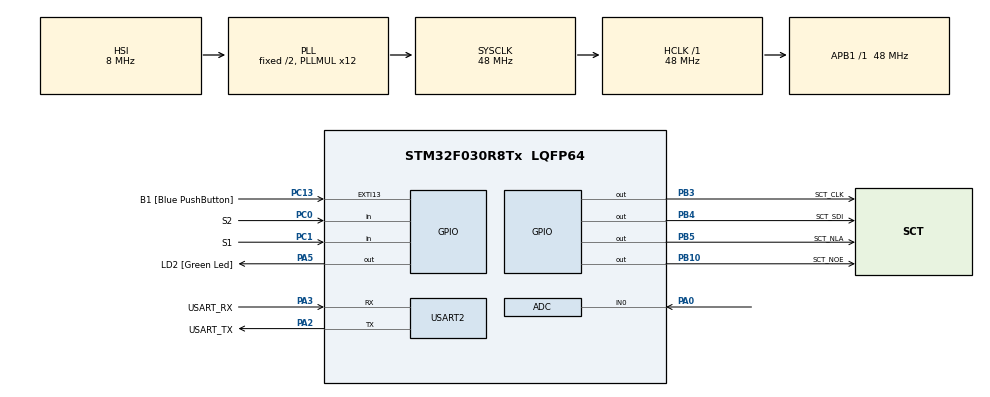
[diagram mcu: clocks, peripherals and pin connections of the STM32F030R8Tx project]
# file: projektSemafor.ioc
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ADC.ContinuousConvMode=ENABLE
ADC.SamplingTime=ADC_SAMPLETIME_239CYCLES_5
Mcu.Family=STM32F0
Mcu.Name=STM32F030R8Tx
Mcu.Package=LQFP64
NVIC.ADC1_IRQn=true\:0\:0\:false\:false\:true\:true\:true\:true
PA0.Mode=IN0
PA0.Signal=ADC_IN0
PA13.GPIO_Label=TMS
PA13.Mode=Serial_Wire
PA13.Signal=SYS_SWDIO
PA14.GPIO_Label=TCK
PA14.Mode=Serial_Wire
PA14.Signal=SYS_SWCLK
PA2.GPIO_Label=USART_TX
PA2.GPIO_Mode=GPIO_MODE_AF_PP
PA2.GPIO_PuPd=GPIO_NOPULL
PA2.GPIO_Speed=GPIO_SPEED_FREQ_LOW
PA2.Mode=Asynchronous
PA2.Signal=USART2_TX
PA3.GPIO_Label=USART_RX
PA3.GPIO_Mode=GPIO_MODE_AF_PP
PA3.GPIO_PuPd=GPIO_NOPULL
PA3.GPIO_Speed=GPIO_SPEED_FREQ_LOW
PA3.Mode=Asynchronous
PA3.Signal=USART2_RX
PA5.GPIO_Label=LD2 [Green Led]
PA5.GPIO_Mode=GPIO_MODE_OUTPUT_PP
PA5.GPIO_PuPd=GPIO_NOPULL
PA5.GPIO_Speed=GPIO_SPEED_FREQ_LOW
PA5.Signal=GPIO_Output
PB10.GPIO_Label=SCT_NOE
PB10.Signal=GPIO_Output
PB3.GPIO_Label=SCT_CLK
PB3.Signal=GPIO_Output
PB4.GPIO_Label=SCT_SDI
PB4.Signal=GPIO_Output
PB5.GPIO_Label=SCT_NLA
PB5.Signal=GPIO_Output
PC0.GPIO_Label=S2
PC0.GPIO_PuPd=GPIO_PULLUP
PC0.Signal=GPIO_Input
PC1.GPIO_Label=S1
PC1.GPIO_PuPd=GPIO_PULLUP
PC1.Signal=GPIO_Input
PC13.GPIO_Label=B1 [Blue PushButton]
PC13.GPIO_ModeDefaultEXTI=GPIO_MODE_IT_FALLING
PC13.Signal=GPXTI13
PC14-OSC32_IN.Mode=LSE-External-Oscillator
PC14-OSC32_IN.Signal=RCC_OSC32_IN
PC15-OSC32_OUT.Mode=LSE-External-Oscillator
PC15-OSC32_OUT.Signal=RCC_OSC32_OUT
PF0-OSC_IN.Mode=HSE-External-Clock-Source
PF0-OSC_IN.Signal=RCC_OSC_IN
PF1-OSC_OUT.Signal=RCC_OSC_OUT
ProjectManager.HeapSize=0x200
ProjectManager.StackSize=0x400
ProjectManager.TargetToolchain=STM32CubeIDE
RCC.AHBFreq_Value=48000000
RCC.APB1Freq_Value=48000000
RCC.APB1TimFreq_Value=48000000
RCC.HCLKFreq_Value=48000000
RCC.PLLMUL=RCC_PLL_MUL12
RCC.SYSCLKFreq_VALUE=48000000
RCC.SYSCLKSource=RCC_SYSCLKSOURCE_PLLCLK
USART2.VirtualMode-Asynchronous=VM_ASYNC
board=NUCLEO-F030R8

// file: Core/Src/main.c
/* USER CODE BEGIN Header */
/**
  ******************************************************************************
  * @file           : main.c
  * @brief          : Main program body
  ******************************************************************************
  * @attention
  *
  * Copyright (c) 2025 STMicroelectronics.
  * All rights reserved.
  *
  * This software is licensed under terms that can be found in the LICENSE file
  * in the root directory of this software component.
  * If no LICENSE file comes with this software, it is provided AS-IS.
  *
  ******************************************************************************
  */
/* USER CODE END Header */
#include "main.h"

/* USER CODE BEGIN Includes */
#include "sct.h"
/* USER CODE END Includes */

/* USER CODE BEGIN PD */
#define YELLOW_TIME 1000;
#define RED_GREEN_TIME raw_pot*15000.9/4095+5000;
/* USER CODE END PD */

ADC_HandleTypeDef hadc;

UART_HandleTypeDef huart2;

/* USER CODE BEGIN PV */
static uint32_t raw_pot;
/* USER CODE END PV */

void SystemClock_Config(void);
static void MX_GPIO_Init(void);
static void MX_USART2_UART_Init(void);
static void MX_ADC_Init(void);

/* USER CODE BEGIN 0 */
void HAL_ADC_ConvCpltCallback(ADC_HandleTypeDef* hadc)
{
	static uint32_t avg_pot;
	raw_pot = avg_pot >> 12; //ADC_Q = 12 - can vary
	avg_pot -= raw_pot;
	avg_pot += HAL_ADC_GetValue(hadc);
}
//Funkce setLight(red); - ktera pusti cervenou - to ale neni potreba protoze se svetla nemeni tak, ze by bylo potreba je adresovat jednou metodou. To by bylo vhodny az kdybych potreboval switch posunout z hlavni smycky, coz ted nepotrebuju.
/* USER CODE END 0 */

int main(void)
{

  /* MCU Configuration--------------------------------------------------------*/

  /* Reset of all peripherals, Initializes the Flash interface and the Systick. */
  HAL_Init();

  /* Configure the system clock */
  SystemClock_Config();

  /* Initialize all configured peripherals */
  MX_GPIO_Init();
  MX_USART2_UART_Init();
  MX_ADC_Init();
  /* USER CODE BEGIN 2 */
  HAL_ADCEx_Calibration_Start(&hadc);
  HAL_ADC_Start_IT(&hadc);//Start ADC
  sct_init();
  sct_ledOn(7);
  HAL_Delay(1000);
  //HAL_Delay(1000);
  /* USER CODE END 2 */

  /* Infinite loop */
  /* USER CODE BEGIN WHILE */
  while (1)
  {
	  static uint8_t pedestrian=0;
	  //0-cervena; 1-cervena+zluta; 2-zelena; 3-zluta
	  static uint32_t lastTick=0;
	  static uint16_t delay=0;
	  static uint8_t countdown=1;
	  static enum { RED, REDYELLOW, GREEN, YELLOW } state = RED;
	  if(HAL_GetTick()-lastTick>=delay)
	  {
		  //state++; - neni vhodne reseni; slo by posunout vse - cervenou dat v prvnim kole na pevno a v ramci case RED, nastavit case=YELLOW a dat hodnoty pro zlutou a delay
		  //Slo by to udelat jeste jinak ale to by musela byt pamet a kod by se musel vracet do stejneho mista ve kterem byl (jako by byl misto delay HAL_Delay(...));
		  //Aby sel zmenit cas v prubehu delaye
		  //Static proměnná není globální -> problém s globalitou (a předáváním) bych teda řešil až u používání dalších souborů. Pokud mi proměnný stačí jako static, je to v poho.
		  //Zalezi jak se to vezme, je to globalni staticka promenna
		  switch(state)//mozne taky cely switch nakopirovat jeste jednou se zohlednenim chodcu!!
		  {
			case RED:
				countdown=1;
				if(pedestrian==1)
				{
					sct_ledOff(7);
					sct_ledOn(8);
				}
				sct_ledOff(2);
				sct_ledOn(1);
				delay = RED_GREEN_TIME;
				state = REDYELLOW;
				break;
			case REDYELLOW:
				countdown=0;
				sct_turnOffSegm();
				if(pedestrian==1)
				{
					sct_ledOff(8);
					sct_ledOn(7);
					pedestrian=0;
				}
				sct_ledOff(1);
				sct_ledOn(2);
				delay = YELLOW_TIME;
				state = GREEN;
				break;
			case GREEN:
				countdown=1;
				sct_ledOff(1); //zelena
				sct_ledOff(2);
				sct_ledOn(3);
				delay = RED_GREEN_TIME;
				state = YELLOW;
				break;
			case YELLOW:
				countdown=0;
				sct_turnOffSegm();
				if(pedestrian==1)
				{
					sct_ledOff(1);
					sct_ledOff(5);
				}
				sct_ledOff(3); //zluta
				sct_ledOn(2);
				delay = YELLOW_TIME;
				state = RED;
				break;
		  }
		  lastTick=HAL_GetTick();
	  }
	  static uint8_t old_s2;
	  uint8_t new_s2 = HAL_GPIO_ReadPin(S1_GPIO_Port, S1_Pin); //Debouncing
	  if(old_s2==1 && new_s2==0&&state==GREEN+1) //+1 znaci ze se program uz nachazi ve stavu Yellow, presto ze sviti zelena
	  {
		  pedestrian=1;
		  delay=0;
		  sct_ledOn(5);
		  state=YELLOW;
	  }
	  old_s2 = new_s2;
	  if(countdown==1)
	  {
	  sct_valueWithLEDsSpecial(((delay-(HAL_GetTick()-lastTick))/1000)+1);
	  }
    /* USER CODE END WHILE */

  }
}

void SystemClock_Config(void)
{
  RCC_OscInitTypeDef RCC_OscInitStruct = {0};
  RCC_ClkInitTypeDef RCC_ClkInitStruct = {0};

  /** Initializes the RCC Oscillators according to the specified parameters
  * in the RCC_OscInitTypeDef structure.
  */
  RCC_OscInitStruct.OscillatorType = RCC_OSCILLATORTYPE_HSI|RCC_OSCILLATORTYPE_HSI14;
  RCC_OscInitStruct.HSIState = RCC_HSI_ON;
  RCC_OscInitStruct.HSI14State = RCC_HSI14_ON;
  RCC_OscInitStruct.HSICalibrationValue = RCC_HSICALIBRATION_DEFAULT;
  RCC_OscInitStruct.HSI14CalibrationValue = 16;
  RCC_OscInitStruct.PLL.PLLState = RCC_PLL_ON;
  RCC_OscInitStruct.PLL.PLLSource = RCC_PLLSOURCE_HSI;
  RCC_OscInitStruct.PLL.PLLMUL = RCC_PLL_MUL12;
  RCC_OscInitStruct.PLL.PREDIV = RCC_PREDIV_DIV1;
  if (HAL_RCC_OscConfig(&RCC_OscInitStruct) != HAL_OK)
  {
    Error_Handler();
  }

  /** Initializes the CPU, AHB and APB buses clocks
  */
  RCC_ClkInitStruct.ClockType = RCC_CLOCKTYPE_HCLK|RCC_CLOCKTYPE_SYSCLK
                              |RCC_CLOCKTYPE_PCLK1;
  RCC_ClkInitStruct.SYSCLKSource = RCC_SYSCLKSOURCE_PLLCLK;
  RCC_ClkInitStruct.AHBCLKDivider = RCC_SYSCLK_DIV1;
  RCC_ClkInitStruct.APB1CLKDivider = RCC_HCLK_DIV1;

  if (HAL_RCC_ClockConfig(&RCC_ClkInitStruct, FLASH_LATENCY_1) != HAL_OK)
  {
    Error_Handler();
  }
}

static void MX_ADC_Init(void)
{

  ADC_ChannelConfTypeDef sConfig = {0};

  /** Configure the global features of the ADC (Clock, Resolution, Data Alignment and number of conversion)
  */
  hadc.Instance = ADC1;
  hadc.Init.ClockPrescaler = ADC_CLOCK_ASYNC_DIV1;
  hadc.Init.Resolution = ADC_RESOLUTION_12B;
  hadc.Init.DataAlign = ADC_DATAALIGN_RIGHT;
  hadc.Init.ScanConvMode = ADC_SCAN_DIRECTION_FORWARD;
  hadc.Init.EOCSelection = ADC_EOC_SINGLE_CONV;
  hadc.Init.LowPowerAutoWait = DISABLE;
  hadc.Init.LowPowerAutoPowerOff = DISABLE;
  hadc.Init.ContinuousConvMode = ENABLE;
  hadc.Init.DiscontinuousConvMode = DISABLE;
  hadc.Init.ExternalTrigConv = ADC_SOFTWARE_START;
  hadc.Init.ExternalTrigConvEdge = ADC_EXTERNALTRIGCONVEDGE_NONE;
  hadc.Init.DMAContinuousRequests = DISABLE;
  hadc.Init.Overrun = ADC_OVR_DATA_PRESERVED;
  if (HAL_ADC_Init(&hadc) != HAL_OK)
  {
    Error_Handler();
  }

  /** Configure for the selected ADC regular channel to be converted.
  */
  sConfig.Channel = ADC_CHANNEL_0;
  sConfig.Rank = ADC_RANK_CHANNEL_NUMBER;
  sConfig.SamplingTime = ADC_SAMPLETIME_239CYCLES_5;
  if (HAL_ADC_ConfigChannel(&hadc, &sConfig) != HAL_OK)
  {
    Error_Handler();
  }

}

static void MX_USART2_UART_Init(void)
{

  huart2.Instance = USART2;
  huart2.Init.BaudRate = 38400;
  huart2.Init.WordLength = UART_WORDLENGTH_8B;
  huart2.Init.StopBits = UART_STOPBITS_1;
  huart2.Init.Parity = UART_PARITY_NONE;
  huart2.Init.Mode = UART_MODE_TX_RX;
  huart2.Init.HwFlowCtl = UART_HWCONTROL_NONE;
  huart2.Init.OverSampling = UART_OVERSAMPLING_16;
  huart2.Init.OneBitSampling = UART_ONE_BIT_SAMPLE_DISABLE;
  huart2.AdvancedInit.AdvFeatureInit = UART_ADVFEATURE_NO_INIT;
  if (HAL_UART_Init(&huart2) != HAL_OK)
  {
    Error_Handler();
  }

}

static void MX_GPIO_Init(void)
{
  GPIO_InitTypeDef GPIO_InitStruct = {0};

  /* GPIO Ports Clock Enable */
  __HAL_RCC_GPIOC_CLK_ENABLE();
  __HAL_RCC_GPIOF_CLK_ENABLE();
  __HAL_RCC_GPIOA_CLK_ENABLE();
  __HAL_RCC_GPIOB_CLK_ENABLE();

  /*Configure GPIO pin Output Level */
  HAL_GPIO_WritePin(LD2_GPIO_Port, LD2_Pin, GPIO_PIN_RESET);

  /*Configure GPIO pin Output Level */
  HAL_GPIO_WritePin(GPIOB, SCT_NOE_Pin|SCT_CLK_Pin|SCT_SDI_Pin|SCT_NLA_Pin, GPIO_PIN_RESET);

  /*Configure GPIO pin : B1_Pin */
  GPIO_InitStruct.Pin = B1_Pin;
  GPIO_InitStruct.Mode = GPIO_MODE_IT_FALLING;
  GPIO_InitStruct.Pull = GPIO_NOPULL;
  HAL_GPIO_Init(B1_GPIO_Port, &GPIO_InitStruct);

  /*Configure GPIO pins : S2_Pin S1_Pin */
  GPIO_InitStruct.Pin = S2_Pin|S1_Pin;
  GPIO_InitStruct.Mode = GPIO_MODE_INPUT;
  GPIO_InitStruct.Pull = GPIO_PULLUP;
  HAL_GPIO_Init(GPIOC, &GPIO_InitStruct);

  /*Configure GPIO pin : LD2_Pin */
  GPIO_InitStruct.Pin = LD2_Pin;
  GPIO_InitStruct.Mode = GPIO_MODE_OUTPUT_PP;
  GPIO_InitStruct.Pull = GPIO_NOPULL;
  GPIO_InitStruct.Speed = GPIO_SPEED_FREQ_LOW;
  HAL_GPIO_Init(LD2_GPIO_Port, &GPIO_InitStruct);

  /*Configure GPIO pins : SCT_NOE_Pin SCT_CLK_Pin SCT_SDI_Pin SCT_NLA_Pin */
  GPIO_InitStruct.Pin = SCT_NOE_Pin|SCT_CLK_Pin|SCT_SDI_Pin|SCT_NLA_Pin;
  GPIO_InitStruct.Mode = GPIO_MODE_OUTPUT_PP;
  GPIO_InitStruct.Pull = GPIO_NOPULL;
  GPIO_InitStruct.Speed = GPIO_SPEED_FREQ_LOW;
  HAL_GPIO_Init(GPIOB, &GPIO_InitStruct);

}

void Error_Handler(void)
{
  __disable_irq();
  while (1)
  {
  }
}
